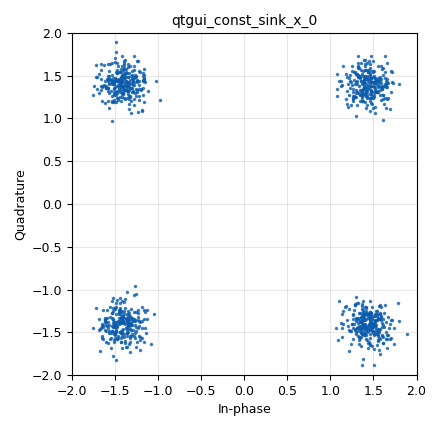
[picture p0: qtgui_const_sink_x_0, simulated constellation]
options:
  parameters:
    generate_options: qt_gui
    id: ber_test
    output_language: python
    title: Not titled yet
  states: {}

blocks:
- name: EbN0
  id: variable_qtgui_range
  parameters:
    label: Energy Bit / Noise Power
    orient: Qt.Horizontal
    start: '-100'
    step: '1'
    stop: '100'
    value: '8'
  states: {}
- name: bps
  id: variable
  parameters:
    value: const.bits_per_symbol()
  states: {}
- name: const
  id: variable_constellation
  parameters:
    precision: '8'
    type: qpsk
  states: {}
- name: samp_rate
  id: variable
  parameters:
    value: 1e5
  states: {}
- name: analog_noise_source_x_0
  id: analog_noise_source_x
  parameters:
    amp: 1.0 / math.sqrt(2.0 *bps * 10**(EbN0/10))
    noise_type: analog.GR_GAUSSIAN
    seed: '0'
    type: complex
  states: {}
- name: analog_random_source_x_0
  id: analog_random_source_x
  parameters:
    max: const.arity()
    min: '0'
    num_samps: int(1e6)
    repeat: 'True'
    type: byte
  states: {}
- name: blocks_add_xx_0
  id: blocks_add_xx
  parameters:
    type: complex
  states: {}
- name: digital_chunks_to_symbols_xx_0
  id: digital_chunks_to_symbols_xx
  parameters:
    dimension: '1'
    in_type: byte
    out_type: complex
    symbol_table: const.points()
  states: {}
- name: digital_constellation_decoder_cb_0
  id: digital_constellation_decoder_cb
  parameters:
    constellation: const.base()
  states: {}
- name: fec_ber_bf_0
  id: fec_ber_bf
  parameters:
    test_mode: 'False'
  states: {}
- name: import_0
  id: import
  parameters:
    imports: import math
  states: {}
- name: qtgui_const_sink_x_0
  id: qtgui_const_sink_x
  parameters:
    size: '1024'
    type: complex
  states: {}
- name: qtgui_number_sink_0
  id: qtgui_number_sink
  parameters:
    graph_type: qtgui.NUM_GRAPH_HORIZ
    type: float
  states: {}
- name: virtual_sink_0
  id: virtual_sink
  parameters:
    stream_id: channel
  states: {}
- name: virtual_source_0
  id: virtual_source
  parameters:
    stream_id: channel
  states: {}

connections:
- [analog_noise_source_x_0, '0', blocks_add_xx_0, '1']
- [analog_random_source_x_0, '0', digital_chunks_to_symbols_xx_0, '0']
- [analog_random_source_x_0, '0', fec_ber_bf_0, '0']
- [blocks_add_xx_0, '0', qtgui_const_sink_x_0, '0']
- [blocks_add_xx_0, '0', virtual_sink_0, '0']
- [digital_chunks_to_symbols_xx_0, '0', blocks_add_xx_0, '0']
- [digital_constellation_decoder_cb_0, '0', fec_ber_bf_0, '1']
- [fec_ber_bf_0, '0', qtgui_number_sink_0, '0']
- [virtual_source_0, '0', digital_constellation_decoder_cb_0, '0']

metadata:
  file_format: 1
